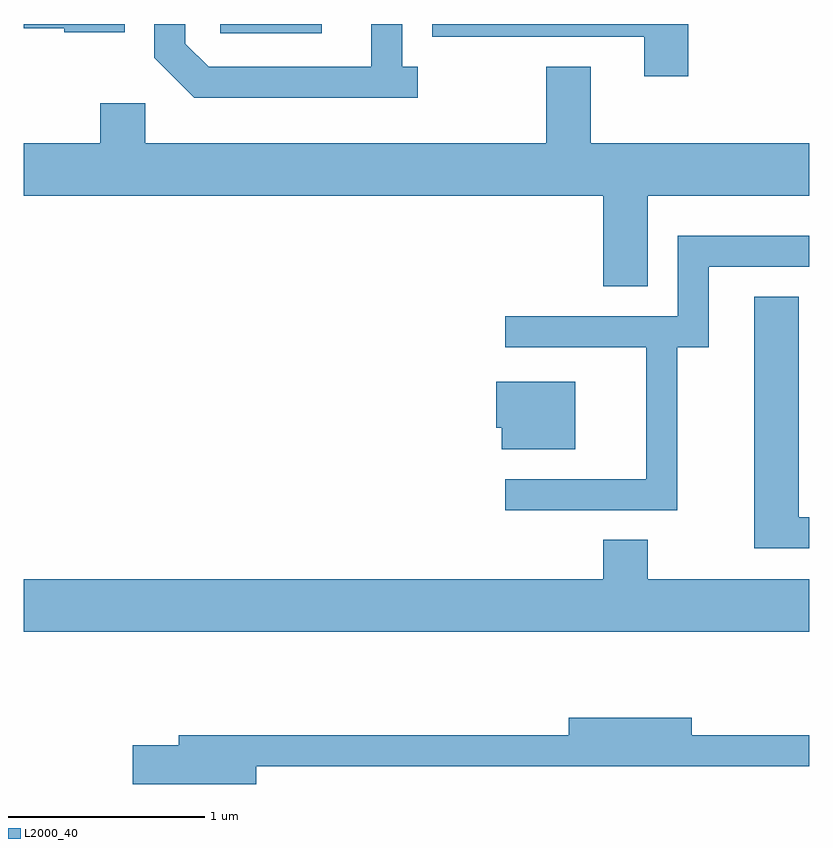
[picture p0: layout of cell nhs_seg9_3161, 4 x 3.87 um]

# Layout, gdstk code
import gdstk
lib = gdstk.Library(unit=1e-6, precision=1e-09)
def R(c, l, rs):  # rectangles x0, y0, x1, y1
    for r in rs: c.add(gdstk.rectangle(r[:2], r[2:], *l))
def P(c, l, *ps):  # polygons
    for p in ps: c.add(gdstk.Polygon(p, *l))
L2000_40 = (2000, 40)

nhs_seg9_3161 = lib.new_cell('nhs_seg9_3161')
R(nhs_seg9_3161, L2000_40, [(278.611,2030.386,279.128,2030.432)])
P(nhs_seg9_3161, L2000_40, [(280.994,2030.432),(279.691,2030.432),(279.691,2030.366),(280.771,2030.366),(280.771,2030.166),(280.994,2030.166)],
  [(278.124,2030.432),(277.611,2030.432),(277.611,2030.411),(277.816,2030.411),(277.816,2030.391),(278.124,2030.391)],
  [(279.618,2030.214),(279.539,2030.214),(279.539,2030.432),(279.381,2030.432),(279.381,2030.214),(278.552,2030.214),(278.434,2030.332),(278.434,2030.432),(278.276,2030.432),(278.276,2030.259),(278.479,2030.056),(279.618,2030.056)],
  [(280.789,2029.556),(281.611,2029.556),(281.611,2029.824),(280.499,2029.824),(280.499,2030.214),(280.271,2030.214),(280.271,2029.824),(278.229,2029.824),(278.229,2030.029),(278.001,2030.029),(278.001,2029.824),(277.611,2029.824),(277.611,2029.556),(280.561,2029.556),(280.561,2029.096),(280.789,2029.096)],
  [(280.939,2028.786),(281.099,2028.786),(281.099,2029.196),(281.611,2029.196),(281.611,2029.354),(280.941,2029.354),(280.941,2028.944),(280.063,2028.944),(280.063,2028.786),(280.781,2028.786),(280.781,2028.114),(280.063,2028.114),(280.063,2027.956),(280.939,2027.956)],
  [(281.611,2027.919),(281.559,2027.919),(281.559,2029.044),(281.331,2029.044),(281.331,2027.761),(281.611,2027.761)],
  [(280.419,2028.609),(280.016,2028.609),(280.016,2028.376),(280.046,2028.376),(280.046,2028.266),(280.419,2028.266)],
  [(281.611,2027.604),(280.789,2027.604),(280.789,2027.804),(280.561,2027.804),(280.561,2027.604),(277.611,2027.604),(277.611,2027.336),(281.611,2027.336)],
  [(278.794,2026.651),(281.611,2026.651),(281.611,2026.809),(281.014,2026.809),(281.014,2026.899),(280.386,2026.899),(280.386,2026.809),(278.401,2026.809),(278.401,2026.759),(278.166,2026.759),(278.166,2026.561),(278.794,2026.561)])

lib.write_gds('nhs_seg9_3161.gds')
